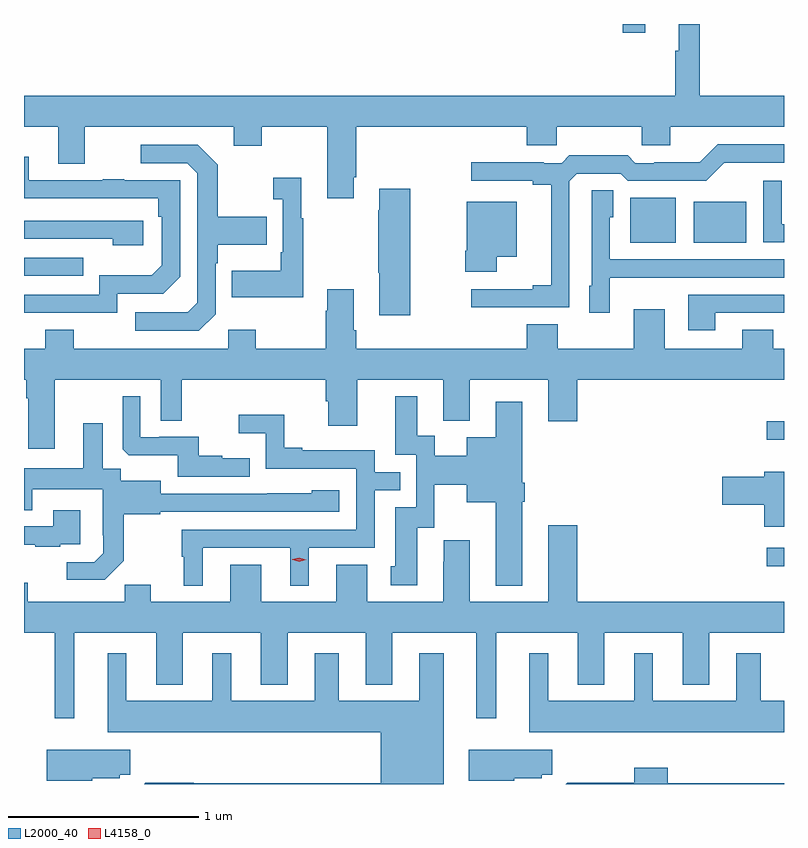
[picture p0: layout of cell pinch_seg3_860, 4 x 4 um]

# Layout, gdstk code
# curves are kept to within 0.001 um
import gdstk
lib = gdstk.Library(unit=1e-6, precision=1e-09)
def R(c, l, rs):  # rectangles x0, y0, x1, y1
    for r in rs: c.add(gdstk.rectangle(r[:2], r[2:], *l))
def P(c, l, *ps):  # polygons
    for p in ps: c.add(gdstk.Polygon(p, *l))
L2000_40 = (2000, 40)
L4158_0 = (4158, 0)

pinch_seg3_860 = lib.new_cell('pinch_seg3_860')
R(pinch_seg3_860, L2000_40, [(734.799,682.619,734.89,682.716), (734.799,683.285,734.89,683.382), (730.89,684.147,731.201,684.243), (734.081,684.323,734.32,684.559), (734.414,684.323,734.692,684.538), (734.041,685.428,734.159,685.473)])
P(pinch_seg3_860, L2000_40, [(732.625,684.667),(732.638,684.667),(732.638,684.932),(733.535,684.932),(733.535,684.834),(733.695,684.834),(733.695,684.932),(734.14,684.932),(734.14,684.834),(734.29,684.834),(734.29,684.932),(734.89,684.932),(734.89,685.096),(734.446,685.096),(734.446,685.473),(734.336,685.473),(734.336,685.332),(734.317,685.332),(734.317,685.096),(730.89,685.096),(730.89,684.932),(731.069,684.932),(731.069,684.738),(731.209,684.738),(731.209,684.932),(731.993,684.932),(731.993,684.833),(732.141,684.833),(732.141,684.932),(732.485,684.932),(732.485,684.555),(732.625,684.555)],
  [(733.761,684.645),(733.8,684.684),(734.031,684.684),(734.067,684.648),(734.481,684.648),(734.576,684.743),(734.89,684.744),(734.89,684.84),(734.541,684.84),(734.447,684.746),(734.206,684.746),(734.206,684.741),(734.106,684.741),(734.067,684.781),(733.759,684.781),(733.719,684.741),(733.625,684.741),(733.625,684.746),(733.245,684.746),(733.245,684.648),(733.568,684.648),(733.568,684.626),(733.664,684.626),(733.664,684.098),(733.568,684.098),(733.568,684.078),(733.245,684.078),(733.245,683.982),(733.761,683.982)],
  [(731.898,683.946),(731.898,684.215),(731.911,684.215),(731.911,684.311),(732.167,684.311),(732.167,684.459),(731.911,684.459),(731.911,684.731),(731.805,684.837),(731.505,684.837),(731.505,684.741),(731.748,684.741),(731.802,684.687),(731.802,684.006),(731.751,683.955),(731.475,683.955),(731.475,683.859),(731.811,683.859)],
  [(731.382,684.054),(731.622,684.054),(731.712,684.144),(731.712,684.651),(731.417,684.651),(731.417,684.656),(731.305,684.656),(731.305,684.651),(730.915,684.651),(730.915,684.775),(730.89,684.775),(730.89,684.556),(731.596,684.555),(731.596,684.458),(731.616,684.458),(731.616,684.204),(731.563,684.151),(731.286,684.151),(731.286,684.048),(730.89,684.048),(730.89,683.952),(731.382,683.952)],
  [(732.361,684.451),(732.349,684.451),(732.349,684.664),(732.201,684.664),(732.201,684.551),(732.252,684.551),(732.252,684.271),(732.24,684.271),(732.24,684.175),(731.983,684.175),(731.983,684.035),(732.361,684.035)],
  [(734.89,684.42),(734.877,684.42),(734.877,684.649),(734.781,684.649),(734.781,684.324),(734.89,684.324)],
  [(732.924,684.607),(732.761,684.607),(732.761,684.494),(732.754,684.494),(732.754,684.163),(732.761,684.163),(732.761,683.94),(732.924,683.94)],
  [(733.974,684.137),(734.291,684.137),(734.291,684.138),(734.89,684.138),(734.89,684.234),(733.974,684.234),(733.974,684.456),(733.99,684.456),(733.99,684.599),(733.878,684.599),(733.878,684.096),(733.865,684.096),(733.865,683.952),(733.974,683.952)],
  [(733.378,684.248),(733.483,684.248),(733.483,684.538),(733.22,684.538),(733.22,684.28),(733.213,684.28),(733.213,684.168),(733.378,684.168)],
  [(731.518,684.438),(730.89,684.438),(730.89,684.342),(731.357,684.342),(731.357,684.308),(731.518,684.308)],
  [(731.053,683.6),(731.61,683.6),(731.61,683.386),(731.719,683.386),(731.719,683.6),(732.479,683.6),(732.479,683.487),(732.491,683.487),(732.491,683.358),(732.643,683.358),(732.643,683.6),(733.097,683.6),(733.097,683.384),(733.237,683.384),(733.237,683.6),(733.649,683.6),(733.649,683.382),(733.802,683.382),(733.802,683.6),(734.89,683.6),(734.89,683.764),(734.833,683.764),(734.833,683.863),(734.669,683.863),(734.669,683.764),(734.263,683.764),(734.263,683.971),(734.099,683.971),(734.099,683.764),(733.699,683.764),(733.699,683.893),(733.535,683.893),(733.535,683.764),(732.638,683.764),(732.638,683.86),(732.625,683.86),(732.625,684.076),(732.485,684.076),(732.485,683.963),(732.478,683.963),(732.478,683.764),(732.111,683.764),(732.111,683.863),(731.964,683.863),(731.964,683.764),(731.151,683.764),(731.151,683.863),(731.003,683.863),(731.003,683.764),(730.89,683.764),(730.89,683.6),(730.901,683.6),(730.901,683.504),(730.913,683.504),(730.913,683.238),(731.053,683.238)],
  [(734.527,683.952),(734.89,683.952),(734.89,684.048),(734.387,684.048),(734.387,683.862),(734.527,683.862)],
  [(732.077,683.188),(731.933,683.188),(731.933,683.2),(731.81,683.2),(731.81,683.301),(731.602,683.301),(731.602,683.298),(731.502,683.298),(731.502,683.515),(731.409,683.515),(731.409,683.235),(731.441,683.204),(731.7,683.204),(731.7,683.091),(732.077,683.091)],
  [(733.513,682.959),(733.526,682.959),(733.526,683.059),(733.513,683.059),(733.513,683.485),(733.373,683.485),(733.373,683.299),(733.22,683.299),(733.22,683.2),(733.051,683.2),(733.051,683.306),(732.961,683.306),(732.961,683.515),(732.845,683.515),(732.845,683.205),(732.954,683.205),(732.954,682.929),(732.845,682.929),(732.845,682.62),(732.821,682.62),(732.821,682.518),(732.961,682.518),(732.961,682.821),(733.05,682.821),(733.05,683.048),(733.22,683.048),(733.22,682.955),(733.373,682.955),(733.373,682.517),(733.513,682.517)],
  [(731.83,682.716),(732.29,682.716),(732.29,682.517),(732.388,682.517),(732.388,682.716),(732.735,682.716),(732.735,683.019),(732.869,683.019),(732.869,683.115),(732.735,683.115),(732.735,683.229),(732.355,683.229),(732.355,683.242),(732.261,683.242),(732.261,683.417),(732.021,683.417),(732.021,683.318),(732.162,683.318),(732.162,683.133),(732.639,683.133),(732.639,682.812),(731.721,682.812),(731.721,682.668),(731.732,682.668),(731.732,682.517),(731.83,682.517)],
  [(731.415,682.647),(731.415,682.893),(731.607,682.893),(731.607,682.905),(732.55,682.905),(732.55,683.02),(732.405,683.02),(732.405,683.002),(731.611,683.001),(731.611,683.068),(731.4,683.068),(731.4,683.132),(731.305,683.132),(731.305,683.371),(731.201,683.371),(731.201,683.134),(730.89,683.134),(730.89,682.915),(730.933,682.915),(730.933,683.024),(731.304,683.024),(731.304,682.783),(731.306,682.783),(731.306,682.688),(731.259,682.641),(731.115,682.641),(731.115,682.547),(731.315,682.547)],
  [(734.89,683.116),(734.786,683.116),(734.786,683.09),(734.565,683.09),(734.565,682.943),(734.786,682.943),(734.786,682.826),(734.89,682.826)],
  [(731.081,682.734),(731.185,682.734),(731.185,682.915),(731.045,682.915),(731.045,682.83),(730.89,682.83),(730.89,682.733),(730.949,682.733),(730.949,682.722),(731.081,682.722)],
  [(733.802,682.834),(733.649,682.834),(733.649,682.432),(733.237,682.432),(733.237,682.756),(733.098,682.756),(733.098,682.643),(733.097,682.643),(733.097,682.432),(732.697,682.432),(732.697,682.627),(732.533,682.627),(732.533,682.432),(732.139,682.432),(732.139,682.627),(731.975,682.627),(731.975,682.432),(731.557,682.432),(731.557,682.523),(731.419,682.523),(731.419,682.432),(730.909,682.432),(730.909,682.531),(730.89,682.531),(730.89,682.268),(731.051,682.268),(731.051,681.819),(731.155,681.819),(731.155,682.268),(731.585,682.268),(731.585,681.995),(731.725,681.995),(731.725,682.268),(732.137,682.268),(732.137,681.995),(732.277,681.995),(732.277,682.268),(732.689,682.268),(732.689,681.995),(732.829,681.995),(732.829,682.268),(733.271,682.268),(733.271,681.819),(733.375,681.819),(733.375,682.268),(733.805,682.268),(733.805,681.995),(733.945,681.995),(733.945,682.268),(734.357,682.268),(734.357,681.995),(734.497,681.995),(734.497,682.268),(734.89,682.268),(734.89,682.432),(733.802,682.432)],
  [(734.89,681.91),(734.767,681.91),(734.767,682.162),(734.639,682.162),(734.639,681.91),(734.2,681.91),(734.2,682.162),(734.102,682.162),(734.102,681.91),(733.648,681.91),(733.648,682.162),(733.55,682.162),(733.55,681.746),(734.89,681.746)],
  [(733.099,682.162),(732.971,682.162),(732.971,681.91),(732.547,681.91),(732.547,682.162),(732.419,682.162),(732.419,681.91),(731.98,681.91),(731.98,682.162),(731.882,682.162),(731.882,681.91),(731.428,681.91),(731.428,682.162),(731.33,682.162),(731.33,681.746),(732.767,681.746),(732.767,681.476),(731.783,681.476),(731.783,681.479),(731.528,681.479),(731.522,681.473),(733.099,681.473)],
  [(731.25,681.503),(731.394,681.503),(731.394,681.523),(731.449,681.523),(731.449,681.652),(731.01,681.652),(731.01,681.491),(731.25,681.491)],
  [(733.47,681.503),(733.614,681.503),(733.614,681.523),(733.669,681.523),(733.669,681.652),(733.23,681.652),(733.23,681.491),(733.47,681.491)],
  [(734.89,681.476),(734.279,681.476),(734.279,681.559),(734.101,681.559),(734.101,681.479),(733.748,681.479),(733.742,681.473),(734.89,681.473)])
P(pinch_seg3_860, L4158_0, [(732.339,682.643),(732.303,682.654),(732.303,682.655),(732.303,682.655),(732.339,682.663),(732.375,682.653),(732.375,682.652),(732.375,682.652)])

lib.write_gds('pinch_seg3_860.gds')
